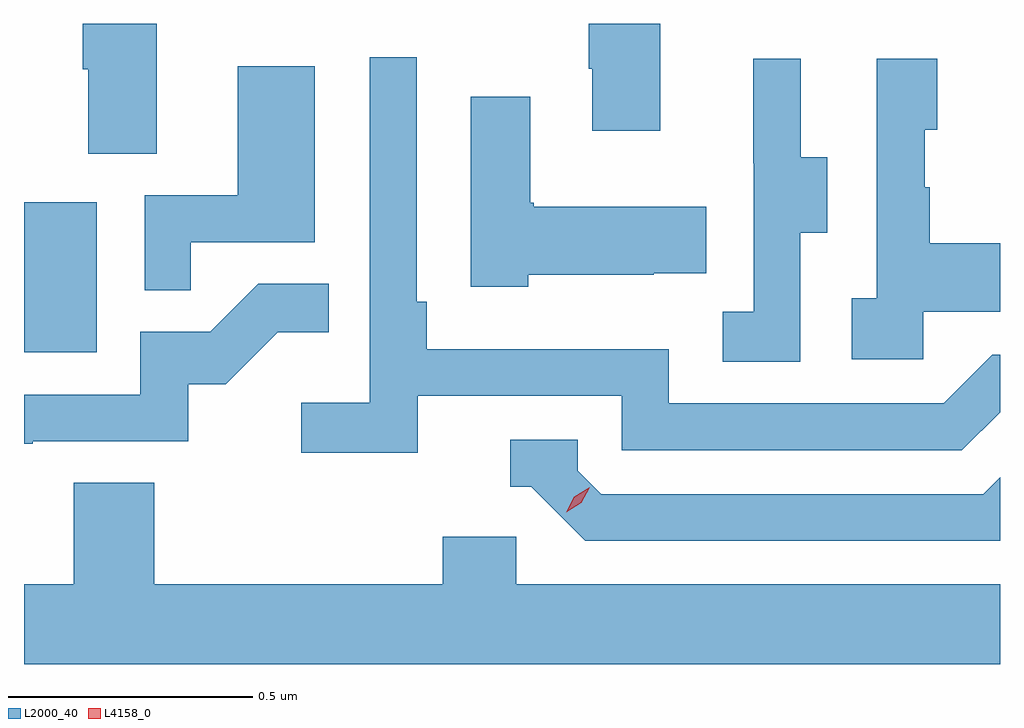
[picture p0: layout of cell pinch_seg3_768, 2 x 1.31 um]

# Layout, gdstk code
import gdstk
lib = gdstk.Library(unit=1e-6, precision=1e-09)
def R(c, l, rs):  # rectangles x0, y0, x1, y1
    for r in rs: c.add(gdstk.rectangle(r[:2], r[2:], *l))
def P(c, l, *ps):  # polygons
    for p in ps: c.add(gdstk.Polygon(p, *l))
L2000_40 = (2000, 40)
L4158_0 = (4158, 0)

pinch_seg3_768 = lib.new_cell('pinch_seg3_768')
R(pinch_seg3_768, L2000_40, [(850.871,730.86,851.02,731.167)])
P(pinch_seg3_768, L2000_40, [(851.143,731.533),(850.991,731.533),(850.991,731.44),(851.003,731.44),(851.003,731.266),(851.143,731.266)],
  [(852.175,731.533),(852.028,731.533),(852.028,731.441),(852.035,731.441),(852.035,731.313),(852.175,731.313)],
  [(851.678,730.77),(852.096,730.77),(852.096,730.659),(852.793,730.659),(852.871,730.737),(852.871,730.854),(852.855,730.854),(852.756,730.755),(852.192,730.755),(852.192,730.866),(851.696,730.866),(851.696,730.963),(851.676,730.963),(851.676,731.464),(851.58,731.464),(851.58,730.756),(851.439,730.756),(851.439,730.654),(851.678,730.654)],
  [(852.462,731.104),(852.517,731.104),(852.517,731.259),(852.463,731.259),(852.463,731.461),(852.365,731.461),(852.365,731.247),(852.366,731.247),(852.366,730.943),(852.303,730.943),(852.303,730.84),(852.462,730.84)],
  [(852.714,730.943),(852.871,730.943),(852.871,731.083),(852.727,731.083),(852.727,731.198),(852.717,731.198),(852.717,731.316),(852.742,731.316),(852.742,731.461),(852.618,731.461),(852.618,730.97),(852.567,730.97),(852.567,730.845),(852.714,730.845)],
  [(851.213,731.085),(851.467,731.085),(851.467,731.446),(851.309,731.446),(851.309,731.181),(851.118,731.181),(851.118,730.987),(851.213,730.987)],
  [(851.904,731.018),(852.161,731.018),(852.161,731.021),(852.269,731.021),(852.269,731.158),(851.916,731.158),(851.916,731.166),(851.908,731.166),(851.908,731.383),(851.786,731.383),(851.786,730.994),(851.904,730.994)],
  [(850.889,730.677),(851.208,730.677),(851.208,730.794),(851.284,730.794),(851.391,730.901),(851.495,730.901),(851.495,731),(851.351,731),(851.253,730.902),(851.109,730.902),(851.109,730.773),(850.871,730.773),(850.871,730.672),(850.889,730.672)],
  [(852.871,730.603),(852.837,730.569),(852.054,730.569),(852.006,730.617),(852.006,730.68),(851.867,730.68),(851.867,730.584),(851.91,730.584),(852.021,730.473),(852.871,730.473)],
  [(852.871,730.384),(851.88,730.384),(851.88,730.482),(851.729,730.482),(851.729,730.384),(851.138,730.384),(851.138,730.592),(850.973,730.592),(850.973,730.384),(850.871,730.384),(850.871,730.22),(852.871,730.22)])
P(pinch_seg3_768, L4158_0, [(851.982,730.532),(851.982,730.532),(851.999,730.564),(852.03,730.583),(852.03,730.583),(852.03,730.583),(852.013,730.551),(851.982,730.532)])

lib.write_gds('pinch_seg3_768.gds')
